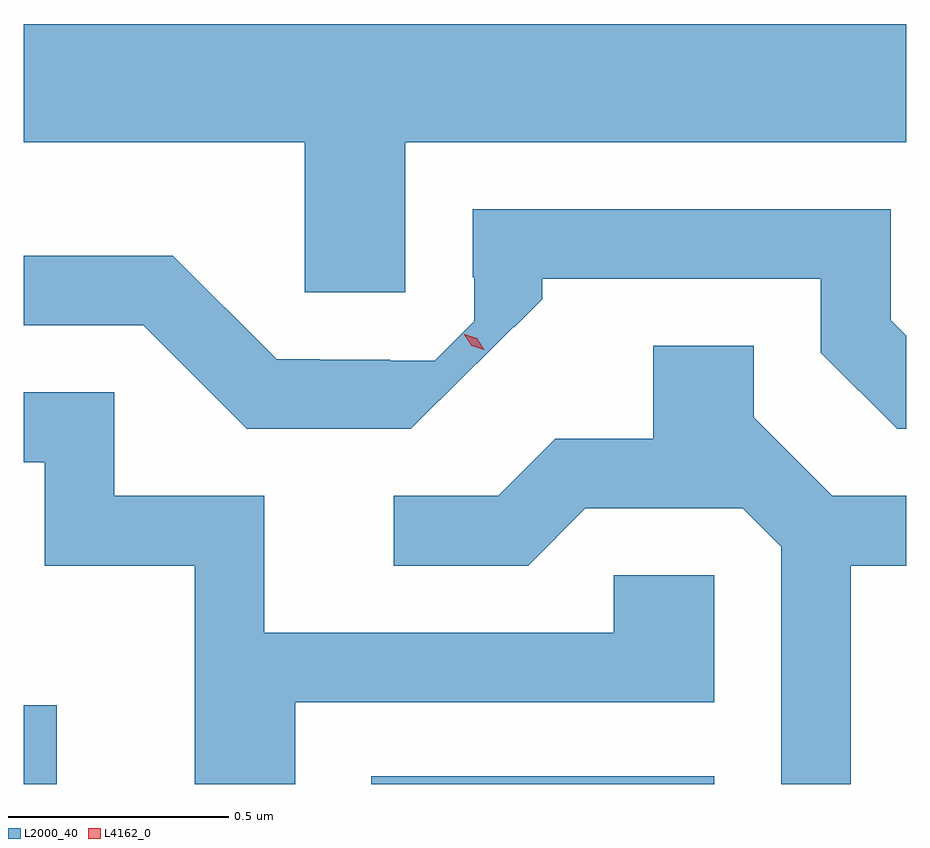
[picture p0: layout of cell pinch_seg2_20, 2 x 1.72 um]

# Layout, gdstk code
import gdstk
lib = gdstk.Library(unit=1e-6, precision=1e-09)
def R(c, l, rs):  # rectangles x0, y0, x1, y1
    for r in rs: c.add(gdstk.rectangle(r[:2], r[2:], *l))
def P(c, l, *ps):  # polygons
    for p in ps: c.add(gdstk.Polygon(p, *l))
L2000_40 = (2000, 40)
L4162_0 = (4162, 0)

pinch_seg2_20 = lib.new_cell('pinch_seg2_20')
R(pinch_seg2_20, L2000_40, [(1668.904,1033.541,1668.979,1033.719), (1669.691,1033.541,1670.469,1033.559)])
P(pinch_seg2_20, L2000_40, [(1669.769,1034.996),(1670.904,1034.996),(1670.904,1035.264),(1668.904,1035.264),(1668.904,1034.996),(1669.541,1034.996),(1669.541,1034.656),(1669.769,1034.656)],
  [(1669.847,1034.412),(1669.847,1034.411),(1670.014,1034.578),(1670.016,1034.576),(1670.079,1034.64),(1670.079,1034.686),(1670.711,1034.686),(1670.711,1034.519),(1670.884,1034.346),(1670.904,1034.346),(1670.904,1034.557),(1670.869,1034.592),(1670.869,1034.844),(1669.922,1034.844),(1669.922,1034.69),(1669.925,1034.69),(1669.925,1034.59),(1669.835,1034.5),(1669.735,1034.5),(1669.735,1034.503),(1669.575,1034.503),(1669.575,1034.504),(1669.477,1034.504),(1669.242,1034.739),(1668.904,1034.739),(1668.904,1034.581),(1669.174,1034.581),(1669.409,1034.346),(1669.781,1034.346)],
  [(1670.779,1034.036),(1670.904,1034.036),(1670.904,1034.194),(1670.737,1034.194),(1670.559,1034.372),(1670.559,1034.534),(1670.331,1034.534),(1670.331,1034.324),(1670.109,1034.324),(1669.979,1034.194),(1669.743,1034.194),(1669.743,1034.036),(1670.047,1034.036),(1670.177,1034.166),(1670.534,1034.166),(1670.621,1034.079),(1670.621,1033.541),(1670.779,1033.541)],
  [(1669.519,1033.726),(1670.469,1033.726),(1670.469,1034.014),(1670.241,1034.014),(1670.241,1033.884),(1669.449,1033.884),(1669.449,1034.194),(1669.109,1034.194),(1669.109,1034.429),(1668.904,1034.429),(1668.904,1034.271),(1668.951,1034.271),(1668.951,1034.036),(1669.291,1034.036),(1669.291,1033.541),(1669.519,1033.541)])
P(pinch_seg2_20, L4162_0, [(1669.939,1034.532),(1669.919,1034.537),(1669.912,1034.555),(1669.912,1034.556),(1669.912,1034.556),(1669.932,1034.552),(1669.939,1034.533),(1669.939,1034.532)],
  [(1669.947,1034.525),(1669.919,1034.535),(1669.902,1034.56),(1669.902,1034.561),(1669.903,1034.561),(1669.931,1034.551),(1669.948,1034.526),(1669.948,1034.525)])

lib.write_gds('pinch_seg2_20.gds')
